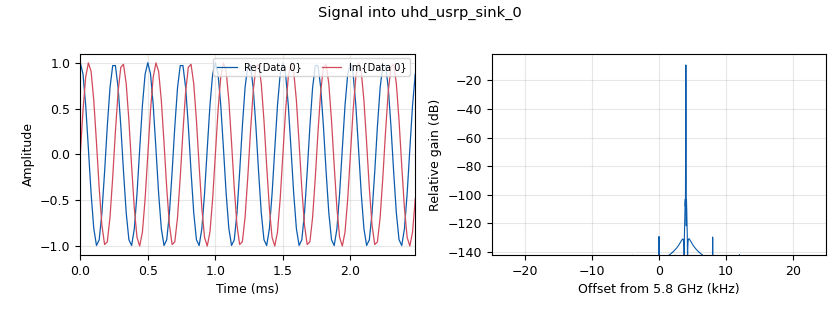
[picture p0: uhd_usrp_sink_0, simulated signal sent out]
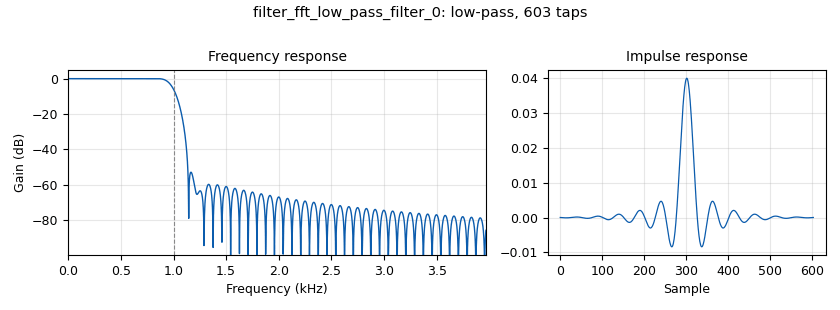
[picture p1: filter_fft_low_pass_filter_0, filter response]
options:
  parameters:
    generate_options: qt_gui
    id: GNUTest
    output_language: python
    title: Not titled yet
  states: {}

blocks:
- name: samp_rate
  id: variable
  parameters:
    value: '50000'
  states: {}
- name: variable_qtgui_range_0
  id: variable_qtgui_range
  parameters:
    start: '0'
    step: '1'
    stop: '100'
    value: '50'
  states: {}
- name: variable_qtgui_range_1
  id: variable_qtgui_range
  parameters:
    start: '0'
    step: '1'
    stop: '100'
    value: '50'
  states: {}
- name: analog_sig_source_x_0
  id: analog_sig_source_x
  parameters:
    amp: '1'
    freq: '4000'
    offset: '0'
    phase: '0'
    samp_rate: samp_rate
    type: complex
    waveform: analog.GR_COS_WAVE
  states: {}
- name: blocks_complex_to_float_0
  id: blocks_complex_to_float
  parameters: {}
  states: {}
- name: blocks_multiply_xx_0
  id: blocks_multiply_xx
  parameters:
    type: complex
  states: {}
- name: blocks_wavfile_sink_0
  id: blocks_wavfile_sink
  parameters:
    bits_per_sample1: FORMAT_PCM_16
    file: C:\ek2370\CW_single_re.wav
    format: FORMAT_WAV
    samp_rate: '50000'
  states: {}
- name: blocks_wavfile_sink_0_0
  id: blocks_wavfile_sink
  parameters:
    bits_per_sample1: FORMAT_PCM_16
    file: C:\ek2370\CW_single_im.wav
    format: FORMAT_WAV
    samp_rate: '50000'
  states: {}
- name: dc_blocker_xx_0
  id: dc_blocker_xx
  parameters:
    length: '32'
    long_form: 'True'
    type: cc
  states: {}
- name: filter_fft_low_pass_filter_0
  id: filter_fft_low_pass_filter
  parameters:
    cutoff_freq: '1000'
    decim: '1'
    gain: '1'
    samp_rate: samp_rate
    type: ccc
    width: '200'
    win: window.WIN_HAMMING
  states: {}
- name: qtgui_sink_x_0_0
  id: qtgui_sink_x
  parameters:
    bw: '100000'
    fc: '4000'
    fftsize: '1024'
    showrf: 'True'
    type: complex
  states: {}
- name: uhd_usrp_sink_0
  id: uhd_usrp_sink
  parameters:
    ant0: '"TX/RX"'
    center_freq0: '5800000000'
    gain0: variable_qtgui_range_0
    samp_rate: samp_rate
    sync: none
    type: fc32
  states: {}
- name: uhd_usrp_source_0
  id: uhd_usrp_source
  parameters:
    ant0: '"RX2"'
    center_freq0: '5800000000'
    gain0: variable_qtgui_range_1
    samp_rate: samp_rate
    sync: sync
    type: fc32
  states: {}

connections:
- [analog_sig_source_x_0, '0', blocks_multiply_xx_0, '1']
- [analog_sig_source_x_0, '0', uhd_usrp_sink_0, '0']
- [blocks_complex_to_float_0, '0', blocks_wavfile_sink_0, '0']
- [blocks_complex_to_float_0, '1', blocks_wavfile_sink_0_0, '0']
- [blocks_multiply_xx_0, '0', filter_fft_low_pass_filter_0, '0']
- [dc_blocker_xx_0, '0', blocks_multiply_xx_0, '0']
- [filter_fft_low_pass_filter_0, '0', blocks_complex_to_float_0, '0']
- [filter_fft_low_pass_filter_0, '0', qtgui_sink_x_0_0, '0']
- [uhd_usrp_source_0, '0', dc_blocker_xx_0, '0']

metadata:
  file_format: 1
  grc_version: 3.10.10.0
